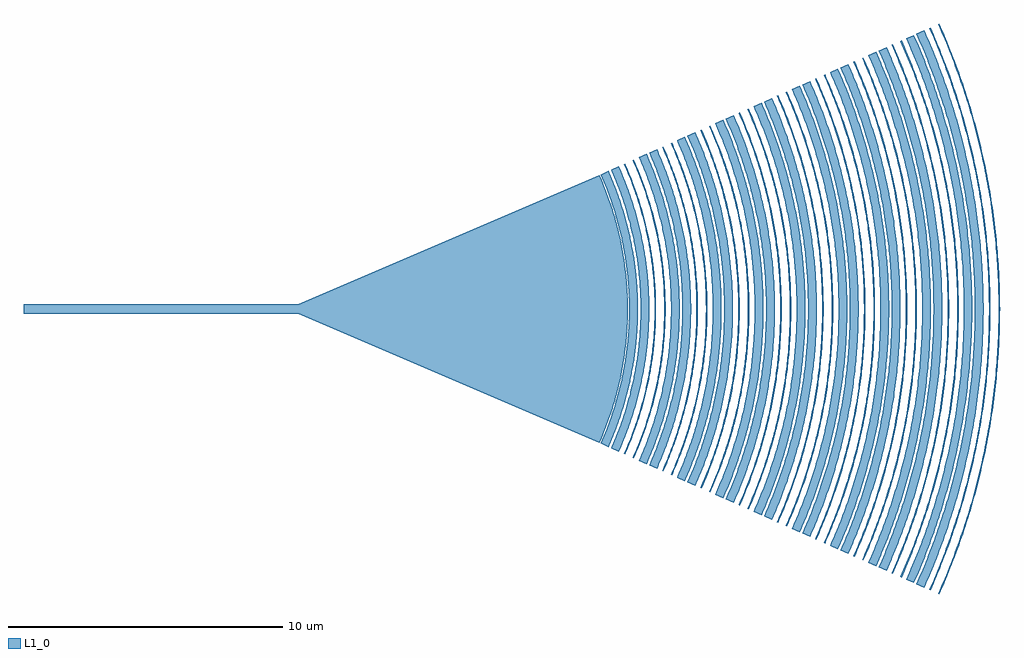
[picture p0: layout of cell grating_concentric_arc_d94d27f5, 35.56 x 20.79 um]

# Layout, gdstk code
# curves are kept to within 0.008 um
import gdstk
lib = gdstk.Library(unit=1e-6, precision=2e-09)
def R(c, l, rs):  # rectangles x0, y0, x1, y1
    for r in rs: c.add(gdstk.rectangle(r[:2], r[2:], *l))
def P(c, l, *ps):  # polygons
    for p in ps: c.add(gdstk.Polygon(p, *l))
L1_0 = (1, 0)

straight_3aa2beef = lib.new_cell('straight_3aa2beef')
R(straight_3aa2beef, L1_0, [(0,-0.174,10,0.174)])

ring_06af8f72_transform_ = lib.new_cell('ring_06af8f72_transform_e195512e')
P(ring_06af8f72_transform_, L1_0, [(11.006,-4.9),(11.224,-4.384),(11.438,-3.79),(11.62,-3.186),(11.756,-2.642),(11.854,-2.162),(11.95,-1.538),(12.02,-0.84),(12.042,-0.42),(12.046,0.28),(12.02,0.84),(11.932,1.676),(11.828,2.298),(11.674,2.982),(11.502,3.59),(11.274,4.252),(11.006,4.9),(11.298,5.03),(11.546,4.432),(11.762,3.822),(11.964,3.132),(12.14,2.36),(12.266,1.578),(12.332,0.934),(12.364,0.288),(12.362,-0.36),(12.32,-1.078),(12.226,-1.864),(12.082,-2.642),(11.868,-3.478),(11.646,-4.162),(11.52,-4.498),(11.298,-5.03)])

ring_fd558cc0_transform_ = lib.new_cell('ring_fd558cc0_transform_0e6d89de')
P(ring_fd558cc0_transform_, L1_0, [(11.39,-5.07),(11.64,-4.468),(11.812,-3.99),(11.944,-3.576),(12.132,-2.876),(12.266,-2.236),(12.366,-1.592),(12.432,-0.942),(12.46,-0.436),(12.466,0.218),(12.432,0.942),(12.366,1.592),(12.266,2.236),(12.132,2.876),(11.902,3.714),(11.64,4.468),(11.39,5.07),(11.674,5.198),(11.958,4.51),(12.2,3.808),(12.436,2.948),(12.586,2.22),(12.694,1.484),(12.754,0.818),(12.78,0.074),(12.77,-0.52),(12.744,-0.966),(12.694,-1.484),(12.586,-2.22),(12.436,-2.948),(12.222,-3.736),(11.958,-4.51),(11.674,-5.198)])

ring_a37c2fef_transform_ = lib.new_cell('ring_a37c2fef_transform_5f5a8555')
P(ring_a37c2fef_transform_, L1_0, [(11.856,-5.278),(12.062,-4.792),(12.296,-4.154),(12.476,-3.578),(12.646,-2.92),(12.768,-2.328),(12.842,-1.88),(12.882,-1.582),(12.936,-1.056),(12.952,-0.83),(12.978,-0.152),(12.968,0.528),(12.936,1.056),(12.882,1.582),(12.842,1.88),(12.74,2.476),(12.646,2.92),(12.476,3.578),(12.32,4.082),(12.17,4.51),(12.034,4.862),(11.856,5.278),(11.9,5.298),(11.992,5.09),(12.162,4.668),(12.39,4.026),(12.584,3.372),(12.694,2.93),(12.758,2.634),(12.83,2.262),(12.89,1.888),(12.964,1.286),(12.996,0.908),(13.02,0.454),(13.026,-0.228),(12.996,-0.908),(12.93,-1.588),(12.83,-2.262),(12.694,-2.93),(12.584,-3.372),(12.502,-3.664),(12.39,-4.026),(12.268,-4.384),(12.134,-4.74),(11.932,-5.23),(11.9,-5.298)])

ring_06beadb8_transform_ = lib.new_cell('ring_06beadb8_transform_c8d5f74e')
P(ring_06beadb8_transform_, L1_0, [(12.174,-5.42),(12.386,-4.92),(12.626,-4.266),(12.768,-3.822),(12.874,-3.45),(13.02,-2.846),(13.164,-2.084),(13.238,-1.548),(13.3,-0.852),(13.322,-0.388),(13.328,0),(13.316,0.542),(13.27,1.238),(13.198,1.854),(13.138,2.238),(13.068,2.618),(12.932,3.224),(12.768,3.822),(12.602,4.338),(12.47,4.704),(12.328,5.064),(12.174,5.42),(12.22,5.44),(12.374,5.082),(12.516,4.72),(12.648,4.354),(12.77,3.986),(12.88,3.612),(12.98,3.236),(13.116,2.628),(13.236,1.938),(13.312,1.32),(13.35,0.856),(13.366,0.544),(13.376,-0.156),(13.35,-0.856),(13.312,-1.32),(13.268,-1.708),(13.16,-2.4),(13.034,-3.01),(12.88,-3.612),(12.77,-3.986),(12.57,-4.576),(12.374,-5.082),(12.22,-5.44)])

ring_55d7fe69_transform_ = lib.new_cell('ring_55d7fe69_transform_b953292a')
P(ring_55d7fe69_transform_, L1_0, [(12.402,-5.522),(12.646,-4.938),(12.862,-4.346),(13.072,-3.666),(13.228,-3.054),(13.342,-2.512),(13.444,-1.89),(13.518,-1.262),(13.568,-0.474),(13.574,0.236),(13.538,1.026),(13.444,1.89),(13.312,2.668),(13.134,3.438),(12.912,4.196),(12.674,4.866),(12.402,5.522),(12.688,5.65),(13.024,4.826),(13.258,4.138),(13.496,3.282),(13.634,2.65),(13.776,1.772),(13.85,1.05),(13.888,0.162),(13.878,-0.566),(13.85,-1.05),(13.804,-1.532),(13.692,-2.332),(13.586,-2.888),(13.496,-3.282),(13.306,-3.984),(13.024,-4.826),(12.688,-5.65)])

ring_1dd11765_transform_ = lib.new_cell('ring_1dd11765_transform_79d0b64b')
P(ring_1dd11765_transform_, L1_0, [(12.778,-5.69),(13.03,-5.088),(13.278,-4.4),(13.468,-3.778),(13.63,-3.146),(13.762,-2.51),(13.874,-1.786),(13.942,-1.138),(13.98,-0.488),(13.986,0.244),(13.942,1.138),(13.852,1.946),(13.716,2.748),(13.512,3.62),(13.304,4.322),(13.03,5.088),(12.778,5.69),(13.066,5.818),(13.412,4.97),(13.654,4.262),(13.898,3.38),(14.056,2.648),(14.164,1.99),(14.256,1.164),(14.288,0.666),(14.302,0.166),(14.294,-0.5),(14.256,-1.164),(14.216,-1.578),(14.114,-2.32),(14.008,-2.892),(13.918,-3.298),(13.726,-4.022),(13.412,-4.97),(13.066,-5.818)])

ring_57017244_transform_ = lib.new_cell('ring_57017244_transform_93a5bbb8')
P(ring_57017244_transform_, L1_0, [(13.248,-5.898),(13.478,-5.354),(13.74,-4.642),(13.964,-3.916),(14.072,-3.508),(14.186,-3.016),(14.324,-2.268),(14.414,-1.6),(14.478,-0.844),(14.502,-0.168),(14.494,0.506),(14.478,0.844),(14.44,1.348),(14.384,1.852),(14.324,2.268),(14.22,2.85),(14.072,3.508),(13.964,3.916),(13.844,4.32),(13.74,4.642),(13.598,5.04),(13.478,5.354),(13.248,5.898),(13.294,5.918),(13.524,5.372),(13.786,4.658),(13.916,4.254),(14.034,3.848),(14.14,3.438),(14.234,3.026),(14.316,2.61),(14.372,2.276),(14.422,1.942),(14.472,1.522),(14.532,0.762),(14.552,0),(14.532,-0.762),(14.472,-1.522),(14.422,-1.942),(14.372,-2.276),(14.316,-2.61),(14.216,-3.108),(14.14,-3.438),(14.034,-3.848),(13.916,-4.254),(13.786,-4.658),(13.554,-5.294),(13.362,-5.764),(13.294,-5.918)])

ring_913e8e8c_transform_ = lib.new_cell('ring_913e8e8c_transform_55bcc40e')
P(ring_913e8e8c_transform_, L1_0, [(13.566,-6.04),(13.864,-5.322),(13.984,-4.998),(14.15,-4.506),(14.344,-3.844),(14.43,-3.508),(14.526,-3.088),(14.638,-2.494),(14.706,-2.066),(14.75,-1.724),(14.794,-1.294),(14.82,-0.95),(14.844,-0.432),(14.85,-0.086),(14.838,0.604),(14.82,0.95),(14.786,1.38),(14.75,1.724),(14.68,2.238),(14.624,2.578),(14.526,3.088),(14.43,3.508),(14.344,3.844),(14.176,4.424),(13.984,4.998),(13.864,5.322),(13.566,6.04),(13.61,6.06),(13.878,5.42),(14.03,5.014),(14.17,4.604),(14.298,4.19),(14.456,3.604),(14.608,2.928),(14.742,2.16),(14.826,1.472),(14.874,0.866),(14.89,0.52),(14.898,-0.174),(14.874,-0.866),(14.842,-1.298),(14.788,-1.816),(14.702,-2.416),(14.608,-2.928),(14.536,-3.266),(14.456,-3.604),(14.298,-4.19),(14.17,-4.604),(14.03,-5.014),(13.814,-5.582),(13.61,-6.06)])

ring_7be2d398_transform_ = lib.new_cell('ring_7be2d398_transform_0a448085')
P(ring_7be2d398_transform_, L1_0, [(13.792,-6.14),(14.126,-5.328),(14.358,-4.666),(14.56,-3.992),(14.73,-3.31),(14.868,-2.622),(14.974,-1.926),(15.054,-1.14),(15.09,-0.44),(15.088,0.526),(15.04,1.316),(14.938,2.188),(14.82,2.88),(14.67,3.566),(14.412,4.498),(14.126,5.328),(13.792,6.14),(14.08,6.268),(14.388,5.524),(14.686,4.678),(14.888,3.99),(15.018,3.468),(15.13,2.94),(15.25,2.234),(15.362,1.254),(15.406,0.448),(15.406,-0.448),(15.362,-1.254),(15.25,-2.234),(15.076,-3.204),(14.976,-3.642),(14.816,-4.248),(14.686,-4.678),(14.514,-5.186),(14.324,-5.69),(14.08,-6.268)])

ring_542ff974_transform_ = lib.new_cell('ring_542ff974_transform_50dc8513')
P(ring_542ff974_transform_, L1_0, [(14.172,-6.31),(14.418,-5.728),(14.698,-4.966),(14.888,-4.362),(15.096,-3.578),(15.246,-2.872),(15.362,-2.16),(15.462,-1.262),(15.504,-0.542),(15.512,0.18),(15.476,1.082),(15.398,1.89),(15.246,2.872),(15.096,3.578),(14.836,4.536),(14.578,5.306),(14.418,5.728),(14.172,6.31),(14.46,6.438),(14.842,5.5),(15.082,4.804),(15.312,4.008),(15.482,3.29),(15.57,2.84),(15.674,2.202),(15.768,1.38),(15.824,0.368),(15.824,-0.368),(15.768,-1.38),(15.674,-2.202),(15.57,-2.84),(15.482,-3.29),(15.358,-3.83),(15.24,-4.274),(15.082,-4.804),(14.842,-5.5),(14.46,-6.438)])

ring_f8a91940_transform_ = lib.new_cell('ring_f8a91940_transform_96856f82')
P(ring_f8a91940_transform_, L1_0, [(14.642,-6.518),(14.86,-6.004),(14.962,-5.744),(15.214,-5.042),(15.432,-4.328),(15.528,-3.968),(15.656,-3.424),(15.8,-2.692),(15.908,-1.954),(15.958,-1.49),(15.988,-1.118),(16.014,-0.652),(16.026,-0.186),(16.026,0.186),(16.014,0.652),(15.988,1.118),(15.958,1.49),(15.908,1.954),(15.858,2.322),(15.8,2.692),(15.714,3.15),(15.616,3.606),(15.528,3.968),(15.354,4.596),(15.214,5.042),(14.996,5.656),(14.86,6.004),(14.642,6.518),(14.686,6.538),(14.906,6.022),(15.042,5.674),(15.17,5.322),(15.318,4.878),(15.478,4.342),(15.576,3.98),(15.744,3.25),(15.878,2.514),(15.92,2.238),(15.998,1.588),(16.054,0.842),(16.072,0.374),(16.076,-0.094),(16.054,-0.842),(16.03,-1.214),(15.978,-1.774),(15.92,-2.238),(15.848,-2.7),(15.744,-3.25),(15.664,-3.616),(15.576,-3.98),(15.452,-4.432),(15.346,-4.79),(15.17,-5.322),(14.94,-5.936),(14.724,-6.452),(14.686,-6.538)])

ring_9d4c2b11_transform_ = lib.new_cell('ring_9d4c2b11_transform_b0dc0766')
P(ring_9d4c2b11_transform_, L1_0, [(14.96,-6.66),(15.112,-6.31),(15.322,-5.78),(15.484,-5.332),(15.604,-4.97),(15.794,-4.33),(15.89,-3.962),(15.998,-3.498),(16.076,-3.124),(16.16,-2.656),(16.266,-1.902),(16.314,-1.428),(16.354,-0.858),(16.37,-0.476),(16.376,-0.096),(16.37,0.476),(16.354,0.858),(16.306,1.522),(16.266,1.902),(16.204,2.374),(16.128,2.844),(16.038,3.312),(15.89,3.962),(15.716,4.606),(15.514,5.242),(15.356,5.69),(15.184,6.134),(14.96,6.66),(15.006,6.68),(15.3,5.976),(15.402,5.708),(15.622,5.076),(15.736,4.71),(15.866,4.252),(15.938,3.974),(16.086,3.322),(16.176,2.852),(16.238,2.476),(16.336,1.716),(16.398,0.956),(16.416,0.574),(16.426,0),(16.416,-0.574),(16.398,-0.956),(16.336,-1.716),(16.266,-2.286),(16.208,-2.664),(16.124,-3.134),(16.026,-3.602),(15.866,-4.252),(15.736,-4.71),(15.562,-5.258),(15.3,-5.976),(15.12,-6.418),(15.006,-6.68)])

ring_597dff6d_transform_ = lib.new_cell('ring_597dff6d_transform_248857de')
P(ring_597dff6d_transform_, L1_0, [(15.186,-6.762),(15.45,-6.138),(15.75,-5.32),(16.006,-4.49),(16.22,-3.646),(16.388,-2.792),(16.512,-1.93),(16.584,-1.16),(16.62,-0.386),(16.614,0.58),(16.552,1.546),(16.448,2.41),(16.3,3.266),(16.082,4.21),(15.84,5.044),(15.52,5.958),(15.186,6.762),(15.476,6.89),(15.85,5.978),(16.2,4.952),(16.388,4.29),(16.61,3.328),(16.762,2.456),(16.876,1.476),(16.93,0.592),(16.936,-0.394),(16.912,-0.984),(16.876,-1.476),(16.762,-2.456),(16.666,-3.038),(16.57,-3.522),(16.484,-3.906),(16.284,-4.67),(15.952,-5.702),(15.744,-6.254),(15.476,-6.89)])

ring_d0c3f9ea_transform_ = lib.new_cell('ring_d0c3f9ea_transform_429de420')
P(ring_d0c3f9ea_transform_, L1_0, [(15.566,-6.93),(15.8,-6.384),(16.144,-5.454),(16.434,-4.506),(16.604,-3.834),(16.764,-3.056),(16.888,-2.274),(16.992,-1.288),(17.036,-0.396),(17.036,0.396),(16.984,1.386),(16.888,2.274),(16.798,2.862),(16.708,3.348),(16.51,4.218),(16.236,5.172),(15.944,6.014),(15.8,6.384),(15.566,6.93),(15.856,7.06),(16.24,6.126),(16.538,5.268),(16.816,4.296),(17.038,3.312),(17.188,2.416),(17.29,1.512),(17.346,0.606),(17.352,-0.404),(17.338,-0.808),(17.29,-1.512),(17.188,-2.416),(17.11,-2.914),(16.998,-3.51),(16.912,-3.904),(16.712,-4.686),(16.538,-5.268),(16.344,-5.842),(16.13,-6.408),(15.856,-7.06)])

ring_6c074008_transform_ = lib.new_cell('ring_6c074008_transform_7349c621')
P(ring_6c074008_transform_, L1_0, [(16.038,-7.14),(16.16,-6.86),(16.426,-6.196),(16.696,-5.424),(16.818,-5.034),(16.93,-4.642),(17.058,-4.148),(17.172,-3.65),(17.306,-2.948),(17.37,-2.544),(17.448,-1.936),(17.488,-1.53),(17.526,-1.02),(17.554,-0.204),(17.548,0.51),(17.526,1.02),(17.488,1.53),(17.412,2.24),(17.354,2.646),(17.252,3.25),(17.172,3.65),(17.058,4.148),(16.93,4.642),(16.818,5.034),(16.632,5.618),(16.426,6.196),(16.16,6.86),(16.038,7.14),(16.082,7.16),(16.284,6.69),(16.472,6.212),(16.612,5.828),(16.774,5.342),(16.978,4.656),(17.106,4.16),(17.22,3.66),(17.3,3.258),(17.388,2.754),(17.46,2.246),(17.508,1.84),(17.546,1.432),(17.58,0.922),(17.6,0.41),(17.604,-0.102),(17.6,-0.41),(17.58,-0.922),(17.554,-1.33),(17.508,-1.84),(17.46,-2.246),(17.388,-2.754),(17.3,-3.258),(17.176,-3.86),(17.056,-4.358),(16.894,-4.95),(16.774,-5.342),(16.612,-5.828),(16.398,-6.404),(16.124,-7.066),(16.082,-7.16)])

ring_56c03020_transform_ = lib.new_cell('ring_56c03020_transform_17964984')
P(ring_56c03020_transform_, L1_0, [(16.356,-7.282),(16.56,-6.804),(16.752,-6.318),(16.894,-5.928),(17.058,-5.434),(17.152,-5.134),(17.294,-4.634),(17.444,-4.028),(17.534,-3.62),(17.666,-2.904),(17.744,-2.388),(17.806,-1.872),(17.86,-1.248),(17.884,-0.832),(17.904,0),(17.884,0.832),(17.86,1.248),(17.806,1.872),(17.744,2.388),(17.666,2.904),(17.534,3.62),(17.372,4.332),(17.152,5.134),(16.962,5.73),(16.788,6.222),(16.6,6.706),(16.356,7.282),(16.4,7.302),(16.606,6.822),(16.76,6.434),(16.94,5.944),(17.074,5.548),(17.228,5.048),(17.368,4.546),(17.516,3.936),(17.582,3.63),(17.68,3.118),(17.748,2.706),(17.806,2.292),(17.854,1.876),(17.884,1.564),(17.928,0.94),(17.948,0.418),(17.952,-0.104),(17.948,-0.418),(17.928,-0.94),(17.884,-1.564),(17.854,-1.876),(17.806,-2.292),(17.732,-2.808),(17.642,-3.322),(17.516,-3.936),(17.394,-4.444),(17.286,-4.848),(17.106,-5.448),(16.94,-5.944),(16.76,-6.434),(16.526,-7.014),(16.4,-7.302)])

ring_b68737ae_transform_ = lib.new_cell('ring_b68737ae_transform_c6b84dfa')
P(ring_b68737ae_transform_, L1_0, [(16.582,-7.382),(16.908,-6.604),(17.23,-5.71),(17.448,-5.004),(17.71,-3.98),(17.876,-3.152),(18.016,-2.212),(18.098,-1.372),(18.144,-0.528),(18.15,0.212),(18.114,1.16),(18.052,1.898),(17.928,2.84),(17.838,3.36),(17.71,3.98),(17.448,5.004),(17.23,5.71),(17.02,6.308),(16.83,6.8),(16.582,7.382),(16.872,7.512),(17.242,6.618),(17.392,6.216),(17.598,5.604),(17.724,5.194),(17.894,4.572),(18.13,3.524),(18.304,2.464),(18.408,1.502),(18.458,0.644),(18.464,-0.43),(18.408,-1.502),(18.344,-2.144),(18.274,-2.676),(18.13,-3.524),(17.996,-4.154),(17.84,-4.78),(17.662,-5.4),(17.392,-6.216),(17.084,-7.018),(16.872,-7.512)])

ring_d309cf20_transform_ = lib.new_cell('ring_d309cf20_transform_09a60573')
P(ring_d309cf20_transform_, L1_0, [(16.964,-7.552),(17.336,-6.654),(17.694,-5.636),(17.964,-4.702),(18.164,-3.86),(18.324,-3.012),(18.444,-2.156),(18.524,-1.296),(18.564,-0.432),(18.564,0.432),(18.524,1.296),(18.444,2.156),(18.324,3.012),(18.228,3.544),(18.092,4.178),(17.964,4.702),(17.82,5.222),(17.592,5.944),(17.412,6.452),(17.176,7.056),(16.964,7.552),(17.25,7.68),(17.63,6.768),(17.96,5.836),(18.268,4.782),(18.4,4.248),(18.516,3.71),(18.616,3.17),(18.7,2.628),(18.812,1.646),(18.876,0.55),(18.876,-0.55),(18.812,-1.646),(18.756,-2.192),(18.668,-2.846),(18.494,-3.818),(18.4,-4.248),(18.212,-4.994),(17.96,-5.836),(17.782,-6.356),(17.55,-6.972),(17.25,-7.68)])

ring_b167a0e8_transform_ = lib.new_cell('ring_b167a0e8_transform_530d4050')
P(ring_b167a0e8_transform_, L1_0, [(17.432,-7.762),(17.734,-7.046),(17.97,-6.422),(18.114,-6.002),(18.216,-5.686),(18.404,-5.046),(18.516,-4.616),(18.666,-3.968),(18.732,-3.642),(18.848,-2.986),(18.954,-2.216),(19.01,-1.664),(19.044,-1.22),(19.062,-0.888),(19.082,-0.222),(19.08,0.334),(19.062,0.888),(19.01,1.664),(18.954,2.216),(18.912,2.546),(18.848,2.986),(18.732,3.642),(18.666,3.968),(18.516,4.616),(18.374,5.154),(18.216,5.686),(18.078,6.108),(17.894,6.63),(17.65,7.252),(17.432,7.762),(17.478,7.782),(17.78,7.064),(17.94,6.648),(18.23,5.806),(18.36,5.38),(18.48,4.952),(18.616,4.412),(18.714,3.978),(18.8,3.542),(18.896,2.992),(18.946,2.662),(19.038,1.89),(19.106,1.002),(19.124,0.556),(19.132,0),(19.124,-0.556),(19.106,-1.002),(19.038,-1.89),(18.946,-2.662),(18.896,-2.992),(18.8,-3.542),(18.714,-3.978),(18.616,-4.412),(18.48,-4.952),(18.296,-5.594),(18.16,-6.018),(17.94,-6.648),(17.654,-7.372),(17.478,-7.782)])

ring_46338267_transform_ = lib.new_cell('ring_46338267_transform_c41bd539')
P(ring_46338267_transform_, L1_0, [(17.752,-7.904),(18.1,-7.07),(18.26,-6.646),(18.446,-6.112),(18.616,-5.574),(18.77,-5.03),(18.882,-4.592),(18.984,-4.15),(19.156,-3.262),(19.258,-2.592),(19.314,-2.144),(19.368,-1.58),(19.392,-1.242),(19.416,-0.792),(19.432,-0.114),(19.416,0.792),(19.368,1.58),(19.326,2.032),(19.21,2.928),(19.116,3.486),(19.03,3.93),(18.934,4.372),(18.77,5.03),(18.55,5.79),(18.41,6.22),(18.182,6.858),(17.974,7.384),(17.752,7.904),(17.796,7.924),(18.02,7.402),(18.228,6.876),(18.528,6.02),(18.788,5.152),(18.93,4.602),(19.056,4.05),(19.204,3.272),(19.276,2.824),(19.35,2.262),(19.386,1.924),(19.426,1.472),(19.46,0.906),(19.476,0.454),(19.48,-0.226),(19.46,-0.906),(19.434,-1.358),(19.35,-2.262),(19.276,-2.824),(19.204,-3.272),(19.032,-4.162),(18.93,-4.602),(18.758,-5.26),(18.63,-5.696),(18.42,-6.342),(18.228,-6.876),(17.888,-7.716),(17.796,-7.924)])

ring_a007b681_transform_ = lib.new_cell('ring_a007b681_transform_9c5f1f76')
P(ring_a007b681_transform_, L1_0, [(17.978,-8.004),(18.332,-7.16),(18.682,-6.19),(18.98,-5.204),(19.202,-4.316),(19.382,-3.418),(19.548,-2.284),(19.64,-1.258),(19.678,-0.344),(19.672,0.572),(19.624,1.488),(19.548,2.284),(19.42,3.192),(19.202,4.316),(19.01,5.094),(18.854,5.644),(18.682,6.19),(18.414,6.946),(18.248,7.372),(17.978,8.004),(18.264,8.132),(18.494,7.598),(18.748,6.948),(19.086,5.956),(19.4,4.836),(19.604,3.928),(19.782,2.898),(19.872,2.206),(19.918,1.742),(19.96,1.162),(19.988,0.466),(19.988,-0.466),(19.96,-1.162),(19.918,-1.742),(19.872,-2.206),(19.782,-2.898),(19.604,-3.928),(19.342,-5.062),(19.154,-5.734),(18.904,-6.51),(18.624,-7.274),(18.264,-8.132)])

ring_67994848_transform_ = lib.new_cell('ring_67994848_transform_7700af8c')
P(ring_67994848_transform_, L1_0, [(18.356,-8.172),(18.716,-7.31),(19.074,-6.32),(19.378,-5.314),(19.63,-4.292),(19.808,-3.374),(19.958,-2.332),(20.036,-1.518),(20.088,-0.468),(20.088,0.468),(20.052,1.284),(19.958,2.332),(19.846,3.144),(19.768,3.604),(19.63,4.292),(19.468,4.974),(19.282,5.65),(19.074,6.32),(18.882,6.872),(18.586,7.636),(18.356,8.172),(18.642,8.3),(19.052,7.314),(19.334,6.532),(19.48,6.08),(19.772,5.052),(19.884,4.59),(20.032,3.894),(20.156,3.192),(20.24,2.604),(20.348,1.542),(20.402,0.474),(20.402,-0.474),(20.348,-1.542),(20.282,-2.252),(20.192,-2.958),(20.032,-3.894),(19.884,-4.59),(19.712,-5.282),(19.48,-6.08),(19.256,-6.756),(19.052,-7.314),(18.642,-8.3)])

ring_05010233_transform_ = lib.new_cell('ring_05010233_transform_b0ac17bf')
P(ring_05010233_transform_, L1_0, [(18.824,-8.382),(19.106,-7.72),(19.238,-7.384),(19.364,-7.048),(19.598,-6.368),(19.74,-5.91),(19.904,-5.334),(20.078,-4.636),(20.156,-4.284),(20.272,-3.696),(20.352,-3.224),(20.438,-2.63),(20.506,-2.034),(20.556,-1.438),(20.578,-1.078),(20.598,-0.6),(20.606,-0.12),(20.598,0.6),(20.584,0.958),(20.556,1.438),(20.506,2.034),(20.406,2.868),(20.314,3.46),(20.204,4.05),(20.078,4.636),(19.994,4.984),(19.904,5.334),(19.706,6.024),(19.522,6.596),(19.364,7.048),(19.106,7.72),(18.824,8.382),(18.87,8.402),(19.106,7.848),(19.326,7.29),(19.53,6.724),(19.644,6.382),(19.788,5.924),(19.92,5.462),(20.042,4.996),(20.204,4.294),(20.298,3.824),(20.4,3.232),(20.486,2.636),(20.566,1.92),(20.596,1.56),(20.638,0.84),(20.654,0.24),(20.654,-0.24),(20.638,-0.84),(20.62,-1.2),(20.566,-1.92),(20.516,-2.398),(20.454,-2.874),(20.362,-3.468),(20.276,-3.942),(20.126,-4.646),(20.012,-5.114),(19.888,-5.578),(19.788,-5.924),(19.53,-6.724),(19.326,-7.29),(19.06,-7.96),(18.87,-8.402)])

ring_02312d12_transform_ = lib.new_cell('ring_02312d12_transform_642e1dfa')
P(ring_02312d12_transform_, L1_0, [(19.144,-8.524),(19.29,-8.188),(19.52,-7.624),(19.692,-7.166),(19.892,-6.592),(20.144,-5.776),(20.362,-4.952),(20.472,-4.476),(20.616,-3.758),(20.678,-3.398),(20.768,-2.796),(20.828,-2.312),(20.876,-1.826),(20.92,-1.218),(20.938,-0.854),(20.954,-0.244),(20.954,0.244),(20.938,0.854),(20.92,1.218),(20.876,1.826),(20.814,2.432),(20.734,3.038),(20.616,3.758),(20.522,4.238),(20.418,4.714),(20.272,5.306),(20.144,5.776),(20.004,6.244),(19.814,6.822),(19.65,7.282),(19.43,7.85),(19.144,8.524),(19.188,8.544),(19.382,8.094),(19.61,7.528),(19.82,6.954),(20.014,6.374),(20.19,5.79),(20.32,5.318),(20.41,4.962),(20.546,4.368),(20.642,3.888),(20.746,3.286),(20.832,2.682),(20.89,2.196),(20.954,1.466),(20.976,1.1),(21.002,0.366),(21.004,-0.122),(20.996,-0.61),(20.976,-1.1),(20.954,-1.466),(20.89,-2.196),(20.832,-2.682),(20.746,-3.286),(20.642,-3.888),(20.494,-4.606),(20.38,-5.082),(20.224,-5.672),(20.086,-6.142),(19.9,-6.722),(19.61,-7.528),(19.382,-8.094),(19.188,-8.544)])

ring_f3be9701_transform_ = lib.new_cell('ring_f3be9701_transform_f4936f8e')
P(ring_f3be9701_transform_, L1_0, [(19.37,-8.624),(19.796,-7.598),(20.128,-6.67),(20.416,-5.726),(20.688,-4.65),(20.882,-3.682),(21.046,-2.584),(21.152,-1.48),(21.198,-0.494),(21.198,0.494),(21.168,1.232),(21.134,1.726),(21.046,2.584),(20.882,3.682),(20.766,4.288),(20.604,5.01),(20.416,5.726),(20.24,6.318),(20.008,7.02),(19.796,7.598),(19.37,8.624),(19.656,8.752),(20.088,7.71),(20.464,6.65),(20.684,5.93),(20.848,5.326),(21.098,4.228),(21.272,3.242),(21.372,2.498),(21.424,2),(21.48,1.252),(21.504,0.75),(21.514,-0.376),(21.494,-1.002),(21.456,-1.626),(21.386,-2.374),(21.308,-2.994),(21.212,-3.614),(21.098,-4.228),(20.848,-5.326),(20.54,-6.41),(20.304,-7.124),(20.042,-7.828),(19.708,-8.638),(19.656,-8.752)])

ring_d0f6b6bd_transform_ = lib.new_cell('ring_d0f6b6bd_transform_d832565f')
P(ring_d0f6b6bd_transform_, L1_0, [(19.748,-8.792),(20.136,-7.864),(20.52,-6.8),(20.814,-5.838),(20.944,-5.352),(21.118,-4.618),(21.31,-3.63),(21.456,-2.634),(21.564,-1.508),(21.608,-0.628),(21.608,0.628),(21.564,1.508),(21.456,2.634),(21.31,3.63),(21.17,4.372),(21.034,4.986),(20.814,5.838),(20.672,6.32),(20.48,6.918),(20.226,7.63),(19.748,8.792),(20.034,8.92),(20.286,8.334),(20.474,7.86),(20.694,7.26),(20.896,6.656),(21.046,6.168),(21.248,5.43),(21.478,4.434),(21.68,3.304),(21.782,2.546),(21.836,2.038),(21.912,0.892),(21.93,0.128),(21.924,-0.51),(21.868,-1.658),(21.81,-2.292),(21.734,-2.926),(21.64,-3.556),(21.528,-4.184),(21.34,-5.058),(21.216,-5.552),(20.972,-6.412),(20.694,-7.26),(20.334,-8.216),(20.034,-8.92)])

ring_de3f62e3_transform_ = lib.new_cell('ring_de3f62e3_transform_b39ee3ca')
P(ring_de3f62e3_transform_, L1_0, [(20.216,-9.002),(20.47,-8.41),(20.614,-8.05),(20.796,-7.568),(20.966,-7.082),(21.124,-6.594),(21.308,-5.976),(21.442,-5.478),(21.62,-4.726),(21.724,-4.222),(21.816,-3.716),(21.878,-3.334),(21.98,-2.57),(22.046,-1.928),(22.1,-1.158),(22.124,-0.514),(22.13,-0.128),(22.124,0.514),(22.106,1.03),(22.076,1.544),(22.022,2.186),(21.98,2.57),(21.878,3.334),(21.724,4.222),(21.62,4.726),(21.504,5.228),(21.376,5.728),(21.2,6.346),(20.966,7.082),(20.796,7.568),(20.47,8.41),(20.216,9.002),(20.262,9.02),(20.466,8.548),(20.66,8.068),(20.842,7.586),(21.054,6.976),(21.248,6.36),(21.39,5.864),(21.52,5.366),(21.668,4.738),(21.772,4.232),(21.886,3.596),(21.964,3.086),(22.058,2.318),(22.106,1.804),(22.142,1.29),(22.17,0.646),(22.178,-0.258),(22.166,-0.774),(22.142,-1.29),(22.106,-1.804),(22.044,-2.446),(21.964,-3.086),(21.886,-3.596),(21.772,-4.232),(21.64,-4.864),(21.52,-5.366),(21.39,-5.864),(21.248,-6.36),(21.054,-6.976),(20.842,-7.586),(20.516,-8.428),(20.262,-9.02)])

ring_4d152781_transform_ = lib.new_cell('ring_4d152781_transform_c0fefcf9')
P(ring_4d152781_transform_, L1_0, [(20.534,-9.142),(20.792,-8.542),(20.986,-8.056),(21.338,-7.07),(21.496,-6.572),(21.644,-6.07),(21.842,-5.31),(21.96,-4.802),(22.066,-4.29),(22.202,-3.516),(22.278,-2.998),(22.326,-2.61),(22.404,-1.828),(22.432,-1.438),(22.46,-0.916),(22.478,-0.13),(22.472,0.524),(22.448,1.176),(22.424,1.568),(22.368,2.22),(22.294,2.87),(22.222,3.388),(22.114,4.032),(22.014,4.546),(21.932,4.928),(21.746,5.692),(21.608,6.196),(21.458,6.696),(21.254,7.318),(20.986,8.056),(20.792,8.542),(20.534,9.142),(20.58,9.162),(20.788,8.682),(21.032,8.074),(21.214,7.582),(21.384,7.086),(21.618,6.336),(21.726,5.956),(21.89,5.322),(22.036,4.684),(22.114,4.298),(22.23,3.654),(22.344,2.876),(22.418,2.224),(22.49,1.31),(22.522,0.524),(22.528,0),(22.522,-0.524),(22.49,-1.31),(22.418,-2.224),(22.344,-2.876),(22.23,-3.654),(22.114,-4.298),(22.036,-4.684),(21.89,-5.322),(21.726,-5.956),(21.618,-6.336),(21.384,-7.086),(21.124,-7.828),(20.788,-8.682),(20.58,-9.162)])

ring_7abccfd0_transform_ = lib.new_cell('ring_7abccfd0_transform_8cbdf4cc')
P(ring_7abccfd0_transform_, L1_0, [(20.762,-9.244),(21.022,-8.636),(21.264,-8.02),(21.614,-7.022),(21.918,-6.01),(22.202,-4.854),(22.426,-3.686),(22.588,-2.506),(22.68,-1.454),(22.72,-0.528),(22.72,0.528),(22.68,1.454),(22.588,2.506),(22.426,3.686),(22.334,4.206),(22.144,5.112),(21.986,5.754),(21.772,6.518),(21.614,7.022),(21.356,7.772),(21.072,8.514),(20.762,9.244),(21.048,9.372),(21.312,8.756),(21.558,8.132),(21.954,6.992),(22.256,5.964),(22.42,5.314),(22.564,4.66),(22.778,3.472),(22.852,2.94),(22.94,2.142),(23.002,1.34),(23.026,0.804),(23.04,0.134),(23.034,-0.536),(23.002,-1.34),(22.964,-1.874),(22.9,-2.542),(22.816,-3.206),(22.736,-3.736),(22.564,-4.66),(22.42,-5.314),(22.29,-5.834),(22.034,-6.736),(21.696,-7.754),(21.462,-8.382),(21.048,-9.372)])

ring_755201bc_transform_ = lib.new_cell('ring_755201bc_transform_edbaa86d')
P(ring_755201bc_transform_, L1_0, [(21.138,-9.412),(21.602,-8.292),(21.922,-7.406),(22.242,-6.378),(22.418,-5.728),(22.576,-5.074),(22.764,-4.15),(22.95,-2.954),(23.062,-1.882),(23.1,-1.346),(23.132,-0.538),(23.132,0.538),(23.082,1.614),(23.026,2.284),(22.95,2.954),(22.81,3.886),(22.688,4.548),(22.484,5.466),(22.35,5.988),(22.128,6.764),(21.922,7.406),(21.65,8.166),(21.454,8.668),(21.138,9.412),(21.426,9.54),(21.696,8.912),(21.946,8.278),(22.132,7.764),(22.39,6.988),(22.584,6.334),(22.758,5.674),(22.998,4.61),(23.122,3.938),(23.226,3.264),(23.312,2.588),(23.366,2.044),(23.436,0.954),(23.454,0.136),(23.448,-0.546),(23.43,-1.092),(23.366,-2.044),(23.312,-2.588),(23.226,-3.264),(23.122,-3.938),(22.998,-4.61),(22.854,-5.276),(22.656,-6.07),(22.39,-6.988),(22.086,-7.894),(21.798,-8.66),(21.426,-9.54)])

ring_03459241_transform_ = lib.new_cell('ring_03459241_transform_8cf92759')
P(ring_03459241_transform_, L1_0, [(21.61,-9.622),(21.828,-9.116),(22.084,-8.478),(22.366,-7.702),(22.54,-7.178),(22.7,-6.652),(22.884,-5.99),(23.018,-5.456),(23.138,-4.918),(23.272,-4.244),(23.364,-3.7),(23.462,-3.02),(23.526,-2.472),(23.588,-1.788),(23.614,-1.376),(23.636,-0.964),(23.654,-0.276),(23.654,0.276),(23.636,0.964),(23.598,1.65),(23.54,2.336),(23.462,3.02),(23.364,3.7),(23.272,4.244),(23.194,4.648),(23.018,5.456),(22.952,5.722),(22.776,6.388),(22.622,6.916),(22.366,7.702),(22.084,8.478),(21.828,9.116),(21.61,9.622),(21.654,9.642),(21.874,9.134),(22.13,8.494),(22.322,7.978),(22.544,7.324),(22.748,6.666),(22.932,6.002),(23.128,5.198),(23.186,4.928),(23.32,4.252),(23.434,3.572),(23.528,2.888),(23.574,2.478),(23.626,1.928),(23.672,1.24),(23.698,0.552),(23.704,-0.138),(23.69,-0.828),(23.656,-1.516),(23.602,-2.204),(23.56,-2.614),(23.474,-3.298),(23.368,-3.98),(23.242,-4.658),(23.128,-5.198),(23,-5.734),(22.824,-6.402),(22.628,-7.062),(22.368,-7.848),(22.08,-8.624),(21.82,-9.262),(21.654,-9.642)])

ring_eb38419e_transform_ = lib.new_cell('ring_eb38419e_transform_5bab75cd')
P(ring_eb38419e_transform_, L1_0, [(21.928,-9.764),(22.204,-9.122),(22.46,-8.472),(22.604,-8.078),(22.83,-7.418),(22.956,-7.018),(23.15,-6.348),(23.292,-5.808),(23.48,-4.99),(23.564,-4.58),(23.664,-4.03),(23.79,-3.202),(23.858,-2.648),(23.936,-1.814),(23.964,-1.396),(23.99,-0.838),(24.004,-0.14),(23.998,0.558),(23.972,1.256),(23.936,1.814),(23.9,2.232),(23.826,2.926),(23.73,3.618),(23.64,4.168),(23.536,4.718),(23.42,5.264),(23.292,5.808),(23.15,6.348),(22.956,7.018),(22.742,7.682),(22.46,8.472),(22.204,9.122),(21.928,9.764),(21.974,9.784),(22.25,9.14),(22.506,8.49),(22.698,7.964),(22.92,7.3),(23.122,6.63),(23.27,6.09),(23.406,5.548),(23.528,5),(23.664,4.314),(23.758,3.762),(23.82,3.348),(23.922,2.514),(23.974,1.956),(24.028,1.12),(24.05,0.42),(24.054,-0.14),(24.028,-1.12),(23.974,-1.956),(23.922,-2.514),(23.82,-3.348),(23.758,-3.762),(23.612,-4.59),(23.468,-5.274),(23.27,-6.09),(23.122,-6.63),(22.92,-7.3),(22.698,-7.964),(22.406,-8.75),(22.142,-9.398),(21.974,-9.784)])

ring_c0eb5889_transform_ = lib.new_cell('ring_c0eb5889_transform_9a067431')
P(ring_c0eb5889_transform_, L1_0, [(22.148,-9.86),(22.582,-8.82),(22.968,-7.76),(23.304,-6.682),(23.454,-6.138),(23.654,-5.316),(23.798,-4.626),(23.922,-3.932),(24.08,-2.814),(24.194,-1.55),(24.224,-0.988),(24.242,-0.282),(24.24,0.424),(24.224,0.988),(24.174,1.832),(24.096,2.674),(24.008,3.374),(23.85,4.348),(23.714,5.04),(23.524,5.864),(23.184,7.088),(22.968,7.76),(22.684,8.556),(22.478,9.082),(22.148,9.86),(22.422,9.982),(22.914,8.796),(23.298,7.72),(23.472,7.176),(23.708,6.352),(24.008,5.102),(24.146,4.402),(24.242,3.84),(24.41,2.566),(24.474,1.854),(24.518,1.142),(24.544,-0.142),(24.524,-1),(24.494,-1.57),(24.41,-2.566),(24.324,-3.274),(24.196,-4.122),(24.066,-4.824),(23.78,-6.076),(23.472,-7.176),(23.16,-8.126),(22.81,-9.062),(22.48,-9.852),(22.422,-9.982)])

ring_66b79721_transform_ = lib.new_cell('ring_66b79721_transform_443b6264')
P(ring_66b79721_transform_, L1_0, [(22.512,-10.022),(22.74,-9.496),(23.006,-8.832),(23.392,-7.752),(23.608,-7.068),(23.766,-6.516),(24.074,-5.264),(24.19,-4.702),(24.316,-3.996),(24.476,-2.86),(24.572,-1.862),(24.616,-1.146),(24.636,-0.574),(24.636,0.574),(24.616,1.146),(24.572,1.862),(24.458,3.004),(24.382,3.572),(24.268,4.28),(24.134,4.984),(23.978,5.682),(23.84,6.24),(23.608,7.068),(23.346,7.888),(23.056,8.698),(22.74,9.496),(22.512,10.022),(22.802,10.152),(23.088,9.484),(23.354,8.81),(23.784,7.574),(23.994,6.88),(24.184,6.18),(24.474,4.906),(24.606,4.192),(24.718,3.474),(24.792,2.898),(24.866,2.176),(24.91,1.596),(24.95,0.726),(24.96,0.146),(24.954,-0.58),(24.934,-1.162),(24.878,-2.03),(24.824,-2.61),(24.738,-3.33),(24.63,-4.048),(24.502,-4.762),(24.384,-5.332),(24.184,-6.18),(23.912,-7.158),(23.648,-7.988),(23.25,-9.08),(22.86,-10.02),(22.802,-10.152)])

ring_d5b2601f_transform_ = lib.new_cell('ring_d5b2601f_transform_3e74d33b')
P(ring_d5b2601f_transform_, L1_0, [(22.986,-10.234),(23.328,-9.426),(23.49,-9.016),(23.742,-8.33),(23.884,-7.914),(24.104,-7.216),(24.226,-6.794),(24.378,-6.228),(24.58,-5.374),(24.726,-4.658),(24.828,-4.08),(24.936,-3.356),(25.006,-2.776),(25.052,-2.338),(25.118,-1.462),(25.15,-0.732),(25.16,-0.146),(25.154,0.586),(25.134,1.17),(25.088,1.902),(25.038,2.484),(24.916,3.502),(24.804,4.224),(24.67,4.944),(24.516,5.66),(24.378,6.228),(24.186,6.936),(24.018,7.496),(23.79,8.192),(23.542,8.88),(23.328,9.426),(22.986,10.234),(23.03,10.254),(23.262,9.716),(23.536,9.034),(23.74,8.484),(23.976,7.79),(24.274,6.808),(24.496,5.956),(24.658,5.242),(24.774,4.666),(24.9,3.944),(25.004,3.218),(25.072,2.636),(25.138,1.904),(25.176,1.32),(25.206,0.44),(25.21,-0.146),(25.194,-0.88),(25.176,-1.32),(25.114,-2.198),(25.04,-2.926),(24.944,-3.654),(24.852,-4.234),(24.718,-4.954),(24.628,-5.384),(24.496,-5.956),(24.274,-6.808),(24.108,-7.37),(23.884,-8.068),(23.588,-8.898),(23.262,-9.716),(23.03,-10.254)])

ring_fbaba452_transform_ = lib.new_cell('ring_fbaba452_transform_2189670d')
P(ring_fbaba452_transform_, L1_0, [(23.304,-10.376),(23.54,-9.83),(23.816,-9.142),(24.072,-8.446),(24.262,-7.882),(24.396,-7.458),(24.602,-6.746),(24.788,-6.028),(24.922,-5.448),(25.042,-4.868),(25.148,-4.284),(25.262,-3.55),(25.338,-2.962),(25.4,-2.372),(25.458,-1.632),(25.494,-0.89),(25.51,-0.148),(25.506,0.446),(25.482,1.186),(25.448,1.78),(25.4,2.372),(25.338,2.962),(25.262,3.55),(25.148,4.284),(25.042,4.868),(24.922,5.448),(24.788,6.028),(24.602,6.746),(24.396,7.458),(24.12,8.306),(23.868,9.004),(23.596,9.694),(23.304,10.376),(23.35,10.396),(23.586,9.85),(23.862,9.16),(24.018,8.742),(24.262,8.04),(24.486,7.33),(24.65,6.758),(24.836,6.038),(24.97,5.46),(25.118,4.73),(25.268,3.852),(25.35,3.262),(25.42,2.672),(25.486,1.932),(25.532,1.19),(25.556,0.446),(25.56,0),(25.556,-0.446),(25.532,-1.19),(25.486,-1.932),(25.42,-2.672),(25.35,-3.262),(25.268,-3.852),(25.118,-4.73),(24.97,-5.46),(24.836,-6.038),(24.65,-6.758),(24.486,-7.33),(24.262,-8.04),(23.966,-8.882),(23.754,-9.436),(23.586,-9.85),(23.35,-10.396)])

grating_concentric_arc_d = lib.new_cell('grating_concentric_arc_d94d27f5')
P(grating_concentric_arc_d, L1_0, [(0,0.174),(0,-0.174),(10.962,-4.882),(11.006,-4.786),(11.24,-4.202),(11.476,-3.508),(11.644,-2.902),(11.78,-2.29),(11.868,-1.774),(11.954,-1.046),(11.99,-0.524),(12,0.104),(11.99,0.524),(11.934,1.254),(11.836,1.98),(11.738,2.496),(11.564,3.206),(11.38,3.808),(11.126,4.496),(10.962,4.882)])
grating_concentric_arc_d.add(gdstk.Reference(straight_3aa2beef, (-10,0)))
grating_concentric_arc_d.add(gdstk.Reference(ring_06af8f72_transform_, (0,0)))
grating_concentric_arc_d.add(gdstk.Reference(ring_fd558cc0_transform_, (0,0)))
grating_concentric_arc_d.add(gdstk.Reference(ring_a37c2fef_transform_, (0,0)))
grating_concentric_arc_d.add(gdstk.Reference(ring_06beadb8_transform_, (0,0)))
grating_concentric_arc_d.add(gdstk.Reference(ring_55d7fe69_transform_, (0,0)))
grating_concentric_arc_d.add(gdstk.Reference(ring_1dd11765_transform_, (0,0)))
grating_concentric_arc_d.add(gdstk.Reference(ring_57017244_transform_, (0,0)))
grating_concentric_arc_d.add(gdstk.Reference(ring_913e8e8c_transform_, (0,0)))
grating_concentric_arc_d.add(gdstk.Reference(ring_7be2d398_transform_, (0,0)))
grating_concentric_arc_d.add(gdstk.Reference(ring_542ff974_transform_, (0,0)))
grating_concentric_arc_d.add(gdstk.Reference(ring_f8a91940_transform_, (0,0)))
grating_concentric_arc_d.add(gdstk.Reference(ring_9d4c2b11_transform_, (0,0)))
grating_concentric_arc_d.add(gdstk.Reference(ring_597dff6d_transform_, (0,0)))
grating_concentric_arc_d.add(gdstk.Reference(ring_d0c3f9ea_transform_, (0,0)))
grating_concentric_arc_d.add(gdstk.Reference(ring_6c074008_transform_, (0,0)))
grating_concentric_arc_d.add(gdstk.Reference(ring_56c03020_transform_, (0,0)))
grating_concentric_arc_d.add(gdstk.Reference(ring_b68737ae_transform_, (0,0)))
grating_concentric_arc_d.add(gdstk.Reference(ring_d309cf20_transform_, (0,0)))
grating_concentric_arc_d.add(gdstk.Reference(ring_b167a0e8_transform_, (0,0)))
grating_concentric_arc_d.add(gdstk.Reference(ring_46338267_transform_, (0,0)))
grating_concentric_arc_d.add(gdstk.Reference(ring_a007b681_transform_, (0,0)))
grating_concentric_arc_d.add(gdstk.Reference(ring_67994848_transform_, (0,0)))
grating_concentric_arc_d.add(gdstk.Reference(ring_05010233_transform_, (0,0)))
grating_concentric_arc_d.add(gdstk.Reference(ring_02312d12_transform_, (0,0)))
grating_concentric_arc_d.add(gdstk.Reference(ring_f3be9701_transform_, (0,0)))
grating_concentric_arc_d.add(gdstk.Reference(ring_d0f6b6bd_transform_, (0,0)))
grating_concentric_arc_d.add(gdstk.Reference(ring_de3f62e3_transform_, (0,0)))
grating_concentric_arc_d.add(gdstk.Reference(ring_4d152781_transform_, (0,0)))
grating_concentric_arc_d.add(gdstk.Reference(ring_7abccfd0_transform_, (0,0)))
grating_concentric_arc_d.add(gdstk.Reference(ring_755201bc_transform_, (0,0)))
grating_concentric_arc_d.add(gdstk.Reference(ring_03459241_transform_, (0,0)))
grating_concentric_arc_d.add(gdstk.Reference(ring_eb38419e_transform_, (0,0)))
grating_concentric_arc_d.add(gdstk.Reference(ring_c0eb5889_transform_, (0,0)))
grating_concentric_arc_d.add(gdstk.Reference(ring_66b79721_transform_, (0,0)))
grating_concentric_arc_d.add(gdstk.Reference(ring_d5b2601f_transform_, (0,0)))
grating_concentric_arc_d.add(gdstk.Reference(ring_fbaba452_transform_, (0,0)))

lib.write_gds('grating_concentric_arc_d94d27f5.gds')
